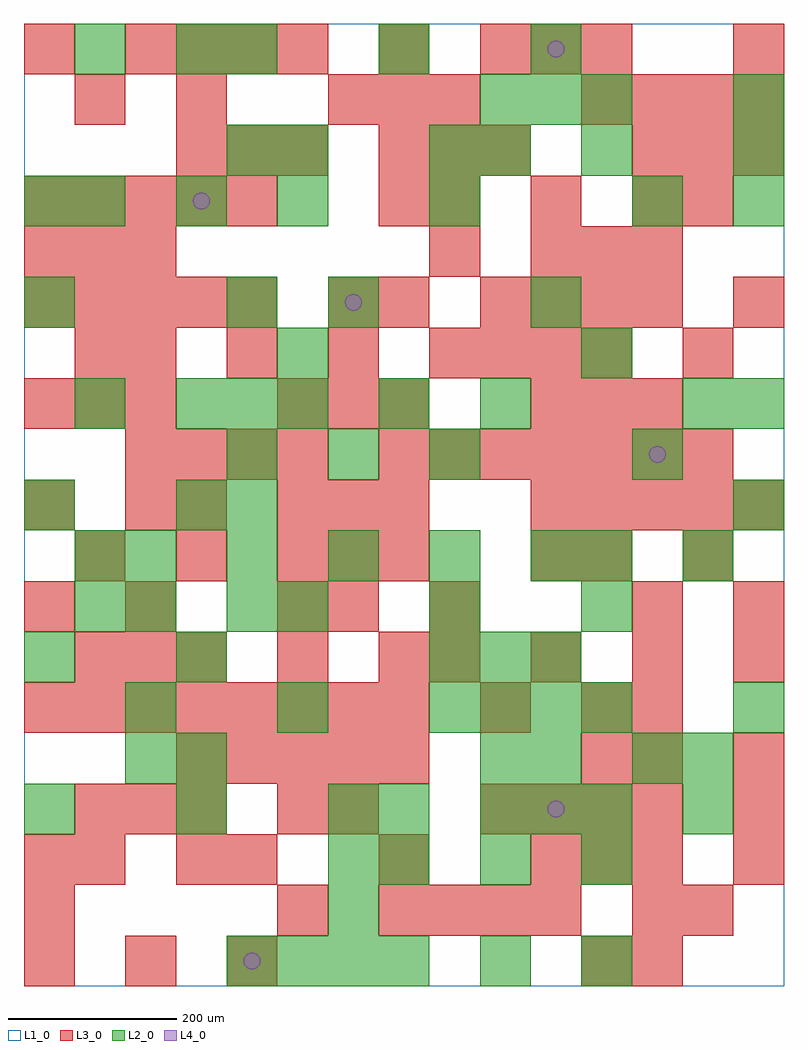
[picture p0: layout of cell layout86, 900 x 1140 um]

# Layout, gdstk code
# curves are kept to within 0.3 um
import gdstk
lib = gdstk.Library(unit=1e-6, precision=1e-09)
def R(c, l, rs):  # rectangles x0, y0, x1, y1
    for r in rs: c.add(gdstk.rectangle(r[:2], r[2:], *l))
def A(c, l, x, y, w, h, nx, ny, dx, dy):  # array of equal rectangles
    R(c, l, [(x+i*dx, y+j*dy, x+i*dx+w, y+j*dy+h) for i in range(nx) for j in range(ny)])
def P(c, l, *ps):  # polygons
    for p in ps: c.add(gdstk.Polygon(p, *l))
L1_0 = (1, 0)
L2_0 = (2, 0)
L3_0 = (3, 0)
L4_0 = (4, 0)

layout86 = lib.new_cell('layout86')
R(layout86, L1_0, [(0,0,900,1140)])
A(layout86, L2_0, 240, 0, 60, 60, 4, 1, 60, 0)
A(layout86, L2_0, 420, 120, 60, 60, 3, 1, 120, 0)
A(layout86, L2_0, 0, 180, 60, 60, 3, 1, 180, 0)
A(layout86, L2_0, 540, 180, 60, 60, 3, 2, 60, 120)
A(layout86, L2_0, 120, 300, 60, 60, 3, 1, 180, 0)
A(layout86, L2_0, 480, 360, 60, 60, 3, 1, 60, 0)
A(layout86, L2_0, 300, 420, 60, 60, 3, 1, 180, 0)
A(layout86, L2_0, 120, 480, 60, 60, 5, 1, 120, 0)
A(layout86, L2_0, 660, 480, 60, 60, 1, 3, 0, 240)
A(layout86, L2_0, 240, 600, 60, 60, 3, 1, 120, 0)
A(layout86, L2_0, 180, 660, 60, 60, 3, 1, 60, 0)
A(layout86, L2_0, 60, 900, 60, 60, 3, 1, 120, 0)
A(layout86, L2_0, 840, 900, 60, 60, 1, 3, 0, 60)
A(layout86, L2_0, 540, 1020, 60, 60, 3, 1, 60, 0)
A(layout86, L2_0, 240, 1080, 60, 60, 3, 1, 180, 0)
R(layout86, L2_0, [(540,0,600,60), (660,0,720,60), (360,60,420,120), (360,120,420,180), (420,180,480,240), (780,180,840,240), (120,240,180,300), (180,240,240,300), (540,240,600,300), (600,240,660,300), (720,240,780,300), (780,240,840,300), (840,300,900,360), (0,360,60,420), (180,360,240,420), (60,420,120,480), (120,420,180,480), (240,420,300,480), (60,480,120,540), (780,480,840,540), (0,540,60,600), (180,540,240,600), (240,540,300,600), (840,540,900,600), (720,600,780,660), (60,660,120,720), (420,660,480,720), (540,660,600,720), (780,660,840,720), (840,660,900,720), (300,720,360,780), (0,780,60,840), (240,780,300,840), (360,780,420,840), (600,780,660,840), (0,900,60,960), (480,900,540,960), (720,900,780,960), (240,960,300,1020), (300,960,360,1020), (480,960,540,1020), (540,960,600,1020), (60,1080,120,1140), (180,1080,240,1140)])
A(layout86, L3_0, 0, 0, 60, 60, 3, 1, 120, 0)
A(layout86, L3_0, 660, 0, 60, 60, 1, 3, 0, 120)
A(layout86, L3_0, 720, 0, 60, 60, 1, 3, 0, 60)
A(layout86, L3_0, 420, 60, 60, 60, 4, 1, 60, 0)
A(layout86, L3_0, 240, 120, 60, 60, 3, 1, 180, 0)
A(layout86, L3_0, 840, 120, 60, 60, 1, 3, 0, 60)
A(layout86, L3_0, 60, 180, 60, 60, 3, 2, 60, 180)
A(layout86, L3_0, 540, 180, 60, 60, 4, 2, 60, 600)
A(layout86, L3_0, 180, 240, 60, 60, 5, 1, 60, 0)
A(layout86, L3_0, 0, 300, 60, 60, 8, 1, 60, 0)
A(layout86, L3_0, 480, 360, 60, 60, 4, 1, 120, 0)
A(layout86, L3_0, 60, 480, 60, 60, 3, 1, 120, 0)
A(layout86, L3_0, 300, 540, 60, 60, 3, 2, 60, 120)
A(layout86, L3_0, 600, 540, 60, 60, 5, 1, 60, 0)
A(layout86, L3_0, 120, 600, 60, 60, 4, 2, 60, 480)
A(layout86, L3_0, 420, 600, 60, 60, 7, 1, 60, 0)
A(layout86, L3_0, 0, 660, 60, 60, 3, 2, 60, 180)
A(layout86, L3_0, 600, 660, 60, 60, 3, 2, 60, 180)
A(layout86, L3_0, 120, 720, 60, 60, 4, 1, 120, 0)
A(layout86, L3_0, 540, 720, 60, 60, 3, 2, 60, 360)
A(layout86, L3_0, 0, 780, 60, 60, 5, 2, 60, 120)
A(layout86, L3_0, 480, 900, 60, 60, 3, 1, 120, 0)
A(layout86, L3_0, 180, 960, 60, 60, 3, 1, 60, 0)
A(layout86, L3_0, 420, 960, 60, 60, 3, 1, 60, 0)
A(layout86, L3_0, 720, 960, 60, 60, 3, 1, 60, 0)
A(layout86, L3_0, 360, 1020, 60, 60, 3, 1, 60, 0)
A(layout86, L3_0, 660, 1020, 60, 60, 4, 1, 60, 0)
R(layout86, L3_0, [(0,60,60,120), (300,60,360,120), (780,60,840,120), (0,120,60,180), (60,120,120,180), (180,120,240,180), (300,180,360,240), (360,180,420,240), (720,240,780,300), (540,300,600,360), (660,300,720,360), (720,300,780,360), (300,360,360,420), (420,360,480,420), (0,420,60,480), (120,420,180,480), (300,420,360,480), (360,420,420,480), (480,420,540,480), (720,420,780,480), (840,420,900,480), (360,480,420,540), (420,480,480,540), (600,480,660,540), (660,480,720,540), (780,480,840,540), (0,540,60,600), (120,540,180,600), (180,540,240,600), (60,720,120,780), (780,720,840,780), (360,780,420,840), (420,780,480,840), (840,780,900,840), (480,840,540,900), (420,900,480,960), (780,900,840,960), (60,1020,120,1080), (180,1020,240,1080), (0,1080,60,1140), (420,1080,480,1140), (840,1080,900,1140)])
P(layout86, L4_0, [(220,930),(219.239,933.827),(217.071,937.071),(213.827,939.239),(210,940),(206.173,939.239),(202.929,937.071),(200.761,933.827),(200,930),(200.761,926.173),(202.929,922.929),(206.173,920.761),(210,920),(213.827,920.761),(217.071,922.929),(219.239,926.173)],
  [(280,30),(279.239,33.827),(277.071,37.071),(273.827,39.239),(270,40),(266.173,39.239),(262.929,37.071),(260.761,33.827),(260,30),(260.761,26.173),(262.929,22.929),(266.173,20.761),(270,20),(273.827,20.761),(277.071,22.929),(279.239,26.173)],
  [(400,810),(399.239,813.827),(397.071,817.071),(393.827,819.239),(390,820),(386.173,819.239),(382.929,817.071),(380.761,813.827),(380,810),(380.761,806.173),(382.929,802.929),(386.173,800.761),(390,800),(393.827,800.761),(397.071,802.929),(399.239,806.173)],
  [(640,210),(639.239,213.827),(637.071,217.071),(633.827,219.239),(630,220),(626.173,219.239),(622.929,217.071),(620.761,213.827),(620,210),(620.761,206.173),(622.929,202.929),(626.173,200.761),(630,200),(633.827,200.761),(637.071,202.929),(639.239,206.173)],
  [(640,1110),(639.239,1113.827),(637.071,1117.071),(633.827,1119.239),(630,1120),(626.173,1119.239),(622.929,1117.071),(620.761,1113.827),(620,1110),(620.761,1106.173),(622.929,1102.929),(626.173,1100.761),(630,1100),(633.827,1100.761),(637.071,1102.929),(639.239,1106.173)],
  [(760,630),(759.239,633.827),(757.071,637.071),(753.827,639.239),(750,640),(746.173,639.239),(742.929,637.071),(740.761,633.827),(740,630),(740.761,626.173),(742.929,622.929),(746.173,620.761),(750,620),(753.827,620.761),(757.071,622.929),(759.239,626.173)])

lib.write_gds('layout86.gds')
